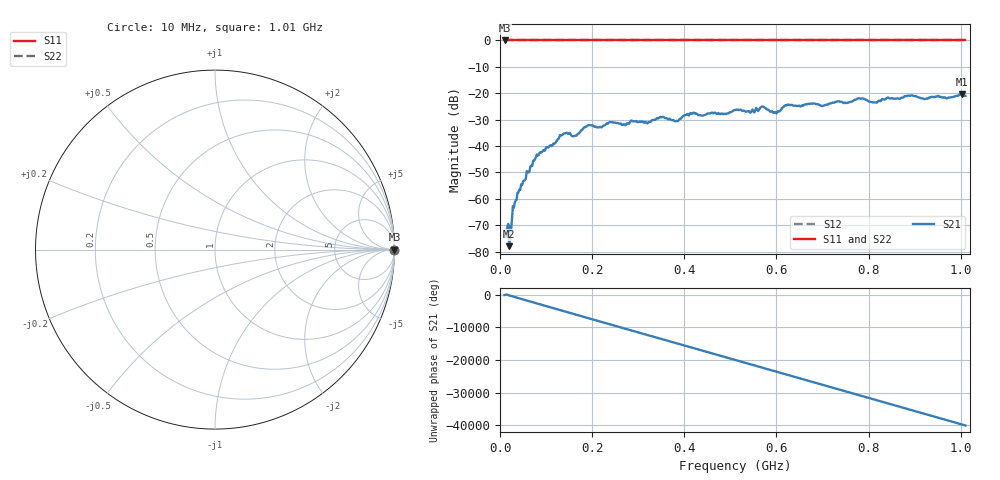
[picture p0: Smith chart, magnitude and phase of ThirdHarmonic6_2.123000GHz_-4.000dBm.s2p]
! 8/17/2025 1:22:30 AM
! C:\ANRITSUVNA\TEMP\TEMP.S2P
! CHANNEL.1
! TR.MEASUREMENT
! RAW.DATA
! RF.CORRECTION.OFF
! AVERAGING.OFF
! IF.BANDWIDTH: 5KHZ
! SWEEPTYPE:  FREQ.SWEEP(Linear)
! Reference Plane Port Info
! PORT:  PORT1  PORT2
! DISTANCE:  0  m  0  m
! TIME:  0  s  0  s
! PHASE.OFFSET:  0  deg.  0  deg.
! LOSS:  0  dB  0  dB
! REF.LOSS:  0  dB  0  dB
! REF.FREQ:  0  Hz  0  Hz
! Power Info
! POWER:  -20  dBm  -20  dBm
! EFF.POWER:  -20  dBm  -20  dBm
! SOURCE.ATTEN:  0  dB  0  dB
! TEST.ATTEN:  0  dB  0  dB
# GHZ S RI R 50.0
! FREQ.GHZ  S11RE  S11IM  S21RE  S21IM  S12RE  S12IM  S22RE  S22IM
!; PortSelection: Port_12
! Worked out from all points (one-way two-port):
!   501 points, 10 MHz to 1.01 GHz, reference 50 ohm
!   highest |S21| = -20.36 dB at 1.002 GHz (marker M1); lowest = -77.9 dB at 20 MHz (marker M2)
!   lowest |S11| = 0.0 dB at 10 MHz (marker M3)
!   |S11| at or under -10 dB: nowhere
!   |S22| runs from 0.0 to 0.0 dB; largest |S21 - S12| = 1.1
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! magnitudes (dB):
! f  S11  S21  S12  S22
! 10 MHz  0.0  -74.4  0.0  0.0
! 20 MHz  0.0  -77.9  0.0  0.0
! 24 MHz  0.0  -72.3  0.0  0.0
! 32 MHz  0.0  -61.5  0.0  0.0
! 42 MHz  0.0  -56.5  0.0  0.0
! 76 MHz  0.0  -45.0  0.0  0.0
! 134 MHz  0.0  -35.9  0.0  0.0
! 162 MHz  0.0  -36.1  0.0  0.0
! 178 MHz  0.0  -34.0  0.0  0.0
! 344 MHz  0.0  -29.6  0.0  0.0
! 384 MHz  0.0  -30.5  0.0  0.0
! 416 MHz  0.0  -27.8  0.0  0.0
! 510 MHz  0.0  -26.4  0.0  0.0
! 570 MHz  0.0  -25.1  0.0  0.0
! 596 MHz  0.0  -27.1  0.0  0.0
! 622 MHz  0.0  -24.6  0.0  0.0
! 678 MHz  0.0  -24.0  0.0  0.0
! 784 MHz  0.0  -22.0  0.0  0.0
! 814 MHz  0.0  -23.4  0.0  0.0
! 844 MHz  0.0  -21.8  0.0  0.0
! 1.002 GHz  0.0  -20.4  0.0  0.0
! 1.01 GHz  0.0  -21.0  0.0  0.0
